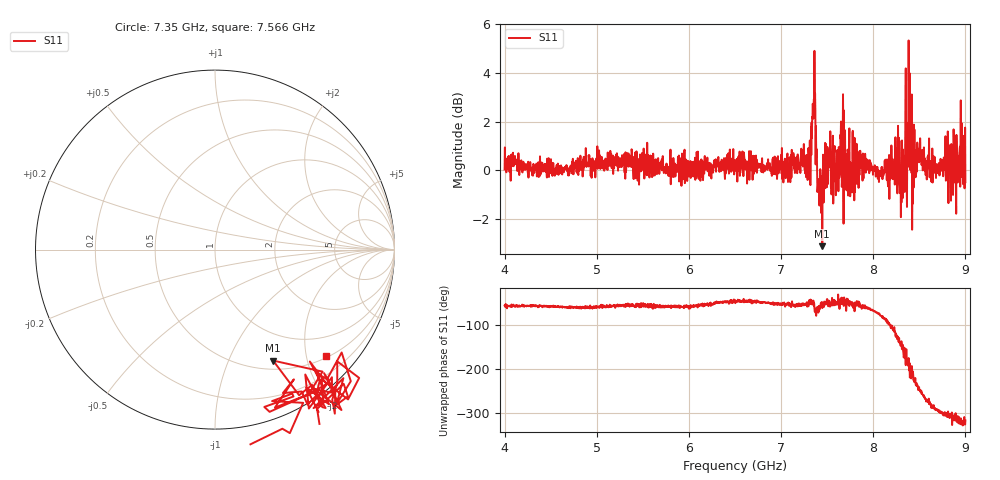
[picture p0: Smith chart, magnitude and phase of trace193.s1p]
! Created with skrf 1.8.0 (http://scikit-rf.org).
# Hz S RI R 50.0
!freq ReS11 ImS11
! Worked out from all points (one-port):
!   1601 points, 4 GHz to 9 GHz, reference 50 ohm
!   lowest |S11| = -3.1 dB at 7.447 GHz (marker M1), VSWR 5.62, Z = 30.5 - j73.6 ohm
!   |S11| at or under -10 dB: nowhere
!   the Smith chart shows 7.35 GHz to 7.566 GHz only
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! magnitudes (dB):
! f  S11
! 4 GHz  0.0
! 4.625 GHz  -0.2
! 5.25 GHz  0.1
! 5.875 GHz  -0.1
! 6.5 GHz  0.3
! 7.125 GHz  0.2
! 7.297 GHz  0.9
! 7.356 GHz  2.9
! 7.409 GHz  -0.4
! 7.447 GHz  -3.1
! 7.512 GHz  0.3
! 7.616 GHz  0.8
! 7.669 GHz  1.2
! 7.703 GHz  -0.1
! 7.75 GHz  -1.1
! 7.844 GHz  0.3
! 8.169 GHz  -0.1
! 8.262 GHz  -1.0
! 8.316 GHz  -0.2
! 8.334 GHz  0.6
! 8.347 GHz  1.4
! 8.375 GHz  1.7
! 8.447 GHz  1.7
! 8.466 GHz  -0.1
! 8.634 GHz  0.2
! 8.841 GHz  1.0
! 8.956 GHz  -0.3
! 9 GHz  -0.5
